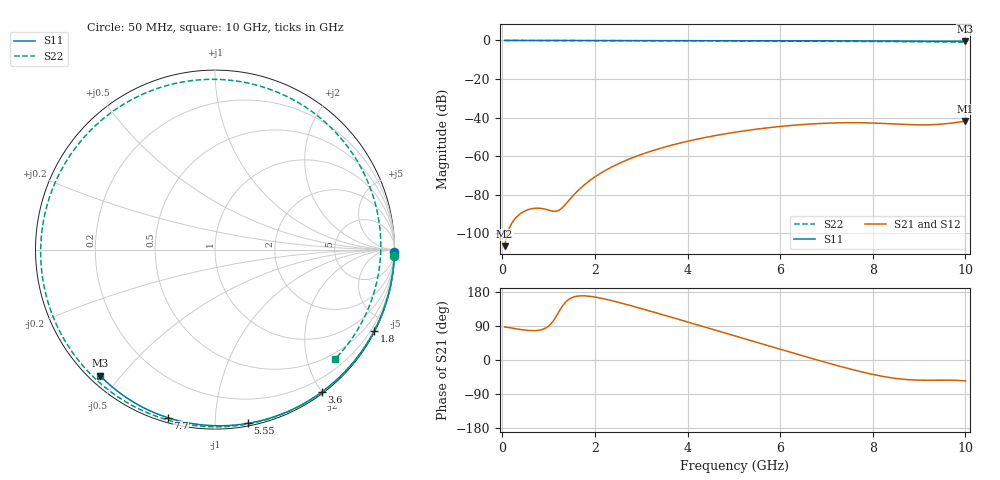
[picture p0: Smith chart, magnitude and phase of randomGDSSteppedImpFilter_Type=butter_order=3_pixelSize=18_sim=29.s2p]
! freq	dB(S11)	phase(S11)	dB(S12)	phase(S12)
!  dB(S21)	phase(S21)	dB(S22)	phase(S22)
!S-par simulation data
#  GHz  S  DB  R 50
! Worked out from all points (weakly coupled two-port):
!   200 points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, 50 MHz to 10 GHz, reference 50 ohm
!   highest |S21| = -41.81 dB at 10 GHz (marker M1); lowest = -106.6 dB at 50 MHz (marker M2)
!   lowest |S11| = -0.4 dB at 10 GHz (marker M3), VSWR 39.04, Z = 1.53 - j22.1 ohm
!   |S11| at or under -10 dB: nowhere
!   |S22| runs from -0.9 to 0.0 dB; largest |S21 - S12| = 0
!   S11 on the Smith chart (normalised r, x): 50 MHz: open; 1.8 GHz: 0.04, -4.14; 3.6 GHz: 0.02, -2.00; 5.55 GHz: 0.02, -1.21; 7.7 GHz: 0.02, -0.76; 10 GHz: 0.03, -0.44
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0.05  -0.00 -0.8  -106.65 87.1  -106.65 87.1  -0.01 -2.0
0.75  -0.01 -11.4  -86.94 77.8  -86.94 77.8  -0.03 -28.9
1.55  -0.03 -23.4  -79.91 166.6  -79.91 166.6  -0.07 -58.6
1.75  -0.03 -26.4  -75.30 169.4  -75.30 169.4  -0.08 -65.8
1.8  -0.03 -27.2  -74.30 169.1  -74.30 169.1  -0.08 -67.6
2.1  -0.04 -31.6  -69.17 163.8  -69.17 163.8  -0.10 -78.1
2.5  -0.05 -37.4  -64.00 152.4  -64.00 152.4  -0.11 -91.9
3.4  -0.07 -50.3  -56.00 121.7  -56.00 121.7  -0.15 -121.8
3.6  -0.07 -53.1  -54.65 114.7  -54.65 114.7  -0.16 -128.3
4.35  -0.09 -63.4  -50.45 87.8  -50.45 87.8  -0.20 -152.6
5.05  -0.11 -72.7  -47.48 62.7  -47.48 62.7  -0.24 -175.7
5.55  -0.13 -79.2  -45.81 44.7  -45.81 44.7  -0.28 167.1
6.15  -0.15 -86.9  -44.25 23.1  -44.25 23.1  -0.33 145.1
6.7  -0.18 -93.7  -43.25 3.6  -43.25 3.6  -0.38 123.1
7.25  -0.21 -100.4  -42.72 -15.3  -42.72 -15.3  -0.44 99.1
7.7  -0.24 -105.7  -42.66 -29.6  -42.66 -29.6  -0.49 77.8
8  -0.26 -109.3  -42.82 -38.0  -42.82 -38.0  -0.52 62.8
8.35  -0.29 -113.4  -43.16 -46.0  -43.16 -46.0  -0.56 44.7
8.75  -0.32 -118.0  -43.62 -51.7  -43.62 -51.7  -0.62 23.4
9.15  -0.36 -122.6  -43.77 -53.4  -43.77 -53.4  -0.68 1.9
9.55  -0.40 -127.2  -43.23 -53.1  -43.23 -53.1  -0.76 -19.3
10  -0.45 -132.3  -41.81 -54.9  -41.81 -54.9  -0.87 -42.4
